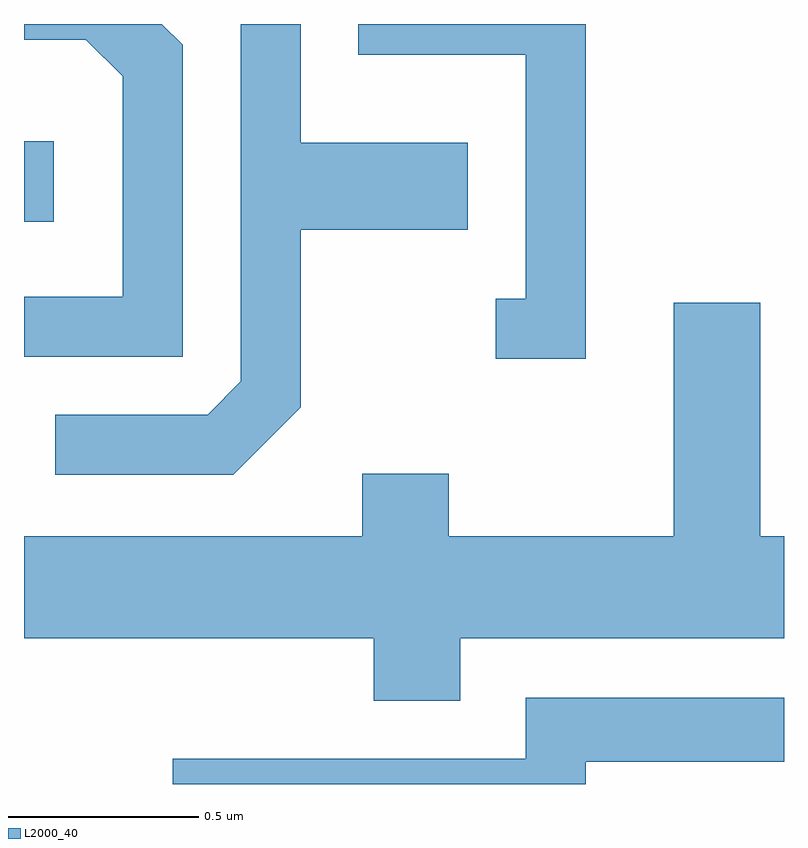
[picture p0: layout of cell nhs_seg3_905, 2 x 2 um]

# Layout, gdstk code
import gdstk
lib = gdstk.Library(unit=1e-6, precision=1e-09)
def R(c, l, rs):  # rectangles x0, y0, x1, y1
    for r in rs: c.add(gdstk.rectangle(r[:2], r[2:], *l))
def P(c, l, *ps):  # polygons
    for p in ps: c.add(gdstk.Polygon(p, *l))
L2000_40 = (2000, 40)

nhs_seg3_905 = lib.new_cell('nhs_seg3_905')
R(nhs_seg3_905, L2000_40, [(191.611,1200.371,191.689,1200.584)])
P(nhs_seg3_905, L2000_40, [(192.029,1200.837),(191.974,1200.892),(191.611,1200.892),(191.611,1200.851),(191.774,1200.851),(191.871,1200.754),(191.871,1200.174),(191.611,1200.174),(191.611,1200.016),(192.029,1200.016)],
  [(192.339,1199.884),(192.339,1200.351),(192.779,1200.351),(192.779,1200.579),(192.339,1200.579),(192.339,1200.892),(192.181,1200.892),(192.181,1199.952),(192.094,1199.864),(191.693,1199.864),(191.693,1199.706),(192.162,1199.706)],
  [(193.089,1200.892),(192.491,1200.892),(192.491,1200.811),(192.931,1200.811),(192.931,1200.169),(192.853,1200.169),(192.853,1200.011),(193.089,1200.011)],
  [(192.759,1199.276),(193.611,1199.276),(193.611,1199.544),(193.549,1199.544),(193.549,1200.159),(193.321,1200.159),(193.321,1199.544),(192.729,1199.544),(192.729,1199.709),(192.501,1199.709),(192.501,1199.544),(191.611,1199.544),(191.611,1199.276),(192.531,1199.276),(192.531,1199.111),(192.759,1199.111)],
  [(193.089,1198.951),(193.611,1198.951),(193.611,1199.119),(192.931,1199.119),(192.931,1198.959),(192.003,1198.959),(192.003,1198.892),(193.089,1198.892)])

lib.write_gds('nhs_seg3_905.gds')
